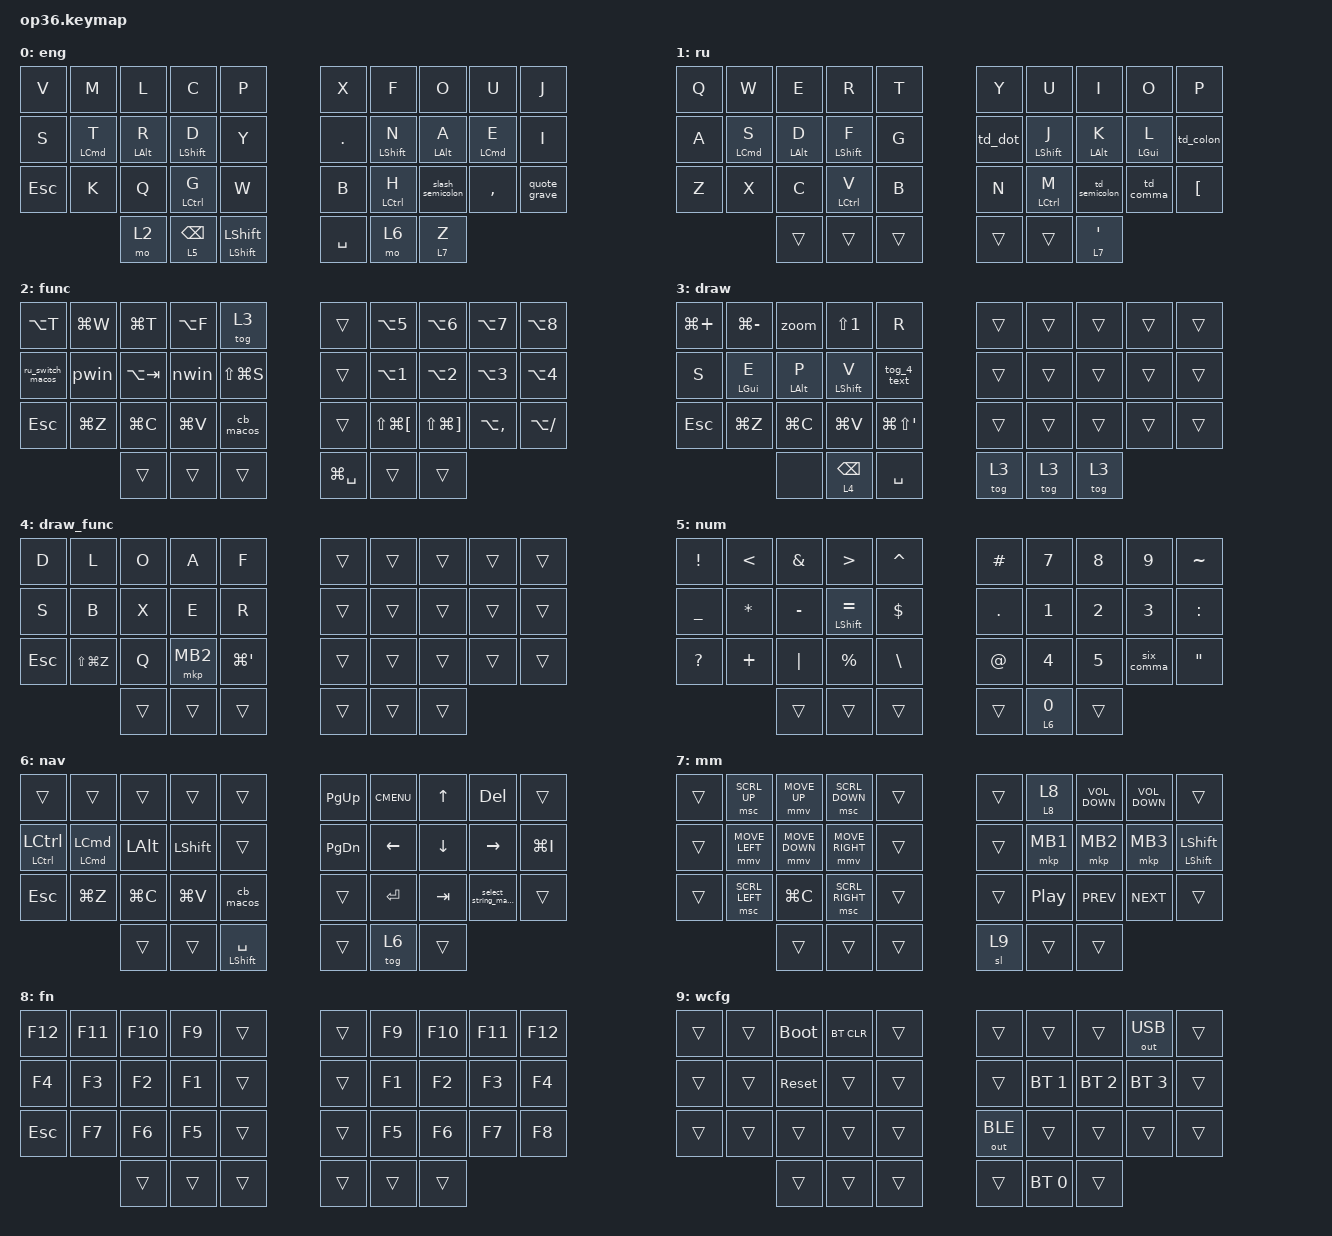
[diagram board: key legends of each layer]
#include "keys_ru.h"
#include <behaviors.dtsi>
#include <dt-bindings/zmk/bt.h>
#include <dt-bindings/zmk/keys.h>
#include <dt-bindings/zmk/outputs.h>
#include <dt-bindings/zmk/pointing.h>

&mt {
    quick-tap-ms = <200>;
    flavor = "tap-preferred";
    require-prior-idle-ms = <125>;
};

&sk {
    release-after-ms = <5000>;
    quick-release;
};

&sl { release-after-ms = <5000>; };

&mmv {
    time-to-max-speed-ms = <200>;
    acceleration-exponent = <1>;
    delay-ms = <0>;
};

&msc {
    time-to-max-speed-ms = <200>;
    delay-ms = <0>;
    acceleration-exponent = <1>;
};

&lt {
    flavor = "balanced";
    quick-tap-ms = <175>;
};

/ {
    behaviors {
        // Forward Window Cycle (NWin)

        nwin: nwin {
            compatible = "zmk,behavior-tri-state";
            #binding-cells = <0>;
            bindings = <&kt LGUI>, <&kp TAB>, <&kt LGUI>;

            ignored-key-positions = <1>;
        };

        // Backward Window Cycle (PWin)

        pwin: pwin {
            compatible = "zmk,behavior-tri-state";
            #binding-cells = <0>;
            bindings = <&kt LGUI>, <&kp LS(TAB)>, <&kt LGUI>;

            ignored-key-positions = <1>;
        };

        hml: home_row_mod_left {
            compatible = "zmk,behavior-hold-tap";
            #binding-cells = <2>;
            flavor = "tap-preferred";
            require-prior-idle-ms = <150>;
            tapping-term-ms = <200>;
            quick-tap-ms = <0>;
            bindings = <&kp>, <&kp>;

            hold-trigger-key-positions = <5 6 7 8 9 15 16 17 18 19 25 26 27 28 29 33 34 35>;
            hold-trigger-on-release;
        };

        hmr: home_row_mod_right {
            compatible = "zmk,behavior-hold-tap";
            #binding-cells = <2>;
            flavor = "tap-preferred";
            require-prior-idle-ms = <150>;
            tapping-term-ms = <200>;
            quick-tap-ms = <0>;
            bindings = <&kp>, <&kp>;

            hold-trigger-key-positions = <0 1 2 3 4 10 11 12 13 14 20 21 22 23 24 30 31 32>;
            hold-trigger-on-release;
        };

        td_dot: td_dot {
            compatible = "zmk,behavior-tap-dance";
            label = "TD_DOT";
            #binding-cells = <0>;
            bindings = <&kp H>, <&kp LS(N7)>;
        };

        td_colon: td_colon {
            compatible = "zmk,behavior-tap-dance";
            label = "TD_COLON";
            #binding-cells = <0>;
            bindings = <&kp SEMI>, <&kp LS(N5)>;
        };

        td_semicolon: td_semicolon {
            compatible = "zmk,behavior-tap-dance";
            label = "TD_SEMICOLON";
            #binding-cells = <0>;
            bindings = <&kp COMMA>, <&kp LS(N8)>;
        };

        td_comma: td_comma {
            compatible = "zmk,behavior-tap-dance";
            label = "TD_COMMA";
            #binding-cells = <0>;
            bindings = <&kp DOT>, <&kp LS(N6)>;
        };

        bs_layer: bs_layer {
            compatible = "zmk,behavior-hold-tap";
            label = "BS_LAYER";
            bindings = <&mo>, <&kp>;

            #binding-cells = <2>;
            flavor = "balanced";
            tapping-term-ms = <160>;
            quick-tap-ms = <0>;
        };

        sl_mo: sl_mo {
            compatible = "zmk,behavior-hold-tap";
            label = "SL_MO";
            bindings = <&mo>, <&sl>;

            #binding-cells = <2>;
            tapping-term-ms = <200>;
            quick-tap-ms = <0>;
        };

        sk_hold: sk_hold {
            compatible = "zmk,behavior-hold-tap";
            label = "SK_HOLD";
            bindings = <&kp>, <&sk>;

            #binding-cells = <2>;
            tapping-term-ms = <200>;
        };

        hml_shift: hml_shift {
            compatible = "zmk,behavior-hold-tap";
            #binding-cells = <2>;
            flavor = "tap-preferred";
            require-prior-idle-ms = <150>;
            tapping-term-ms = <200>;
            quick-tap-ms = <0>;
            bindings = <&kp>, <&kp>;

            label = "HML_SHIFT";
        };

        hmr_shift: hmr_shift {
            compatible = "zmk,behavior-hold-tap";
            #binding-cells = <2>;
            flavor = "tap-preferred";
            require-prior-idle-ms = <150>;
            tapping-term-ms = <200>;
            quick-tap-ms = <0>;
            bindings = <&kp>, <&kp>;

            label = "HMR_SHIFT";
        };

        lt_zero: lt_zero {
            compatible = "zmk,behavior-hold-tap";
            label = "LT_ZERO";
            bindings = <&mo>, <&kp>;

            #binding-cells = <2>;
            tapping-term-ms = <140>;
            flavor = "balanced";
        };

        space_shift: space_shift {
            compatible = "zmk,behavior-hold-tap";
            label = "SPACE_SHIFT";
            bindings = <&kp>, <&kp>;

            #binding-cells = <2>;
            tapping-term-ms = <200>;
        };

        slash_semicolon: slash_semicolon {
            compatible = "zmk,behavior-mod-morph";
            label = "SLASH_SEMICOLON";
            bindings = <&kp SLASH>, <&kp SEMICOLON>;

            #binding-cells = <0>;
            mods = <(MOD_LSFT|MOD_RSFT)>;
        };

        quote_grave: quote_grave {
            compatible = "zmk,behavior-mod-morph";
            label = "QUOTE_GRAVE";
            bindings = <&kp SINGLE_QUOTE>, <&kp GRAVE>;

            #binding-cells = <0>;
            mods = <(MOD_LSFT|MOD_RSFT)>;
        };

        hmr_alt: hmr_alt {
            compatible = "zmk,behavior-hold-tap";
            #binding-cells = <2>;
            flavor = "balanced";
            require-prior-idle-ms = <150>;
            tapping-term-ms = <280>;
            quick-tap-ms = <0>;
            bindings = <&kp>, <&kp>;

            hold-trigger-key-positions = <0 1 2 3 4 10 11 12 13 14 20 21 22 23 24 30 31 32>;
            hold-trigger-on-release;
            label = "HMR_ALT";
        };

        six_comma: six_comma {
            compatible = "zmk,behavior-mod-morph";
            label = "SIX_COMMA";
            bindings = <&kp N6>, <&kp COMMA>;

            #binding-cells = <0>;
            mods = <(MOD_LSFT)>;
        };
    };

    combos {
        compatible = "zmk,combos";

        yio {
            bindings = <&kp NUBS>;
            key-positions = <23 24>;
            layers = <1>;
        };

        enter_combo {
            bindings = <&kp ENTER>;
            key-positions = <34 26>;
            layers = <0 1 6 2>;
        };

        tab_combo {
            bindings = <&kp TAB>;
            key-positions = <34 27>;
            layers = <0 1 2 6>;
        };

        tab_enter_combo {
            bindings = <&tab_enter>;
            key-positions = <34 26 27>;
            layers = <0 1 2 6>;
            timeout-ms = <25>;
        };

        left_par_combo {
            bindings = <&kp LPAR>;
            key-positions = <16 17>;
            timeout-ms = <20>;
            require-prior-idle-ms = <0>;
            layers = <0 1 5>;
        };

        right_par_combo {
            bindings = <&kp RPAR>;
            key-positions = <17 18>;
            timeout-ms = <20>;
            require-prior-idle-ms = <0>;
            layers = <0 1 5>;
        };

        both_par_combo {
            bindings = <&autop>;
            key-positions = <17 18 16>;
            timeout-ms = <20>;
            require-prior-idle-ms = <0>;
            layers = <0 1 5>;
        };

        both_bracket_combo {
            bindings = <&autobracket>;
            key-positions = <6 7 8>;
            timeout-ms = <25>;
            require-prior-idle-ms = <0>;
            layers = <0 1 5>;
        };

        both_braces_combo {
            bindings = <&autobrace>;
            key-positions = <26 28 27>;
            timeout-ms = <30>;
            require-prior-idle-ms = <0>;
            layers = <0 1 5>;
        };

        block_combo {
            bindings = <&auto_block>;
            key-positions = <26 28>;
            timeout-ms = <30>;
            require-prior-idle-ms = <0>;
            layers = <0 1 5>;
        };

        left_bracket_combo {
            bindings = <&kp LEFT_BRACKET>;
            key-positions = <6 7>;
            timeout-ms = <20>;
            require-prior-idle-ms = <0>;
            layers = <0 1 5>;
        };

        right_bracket_combo {
            bindings = <&kp RIGHT_BRACKET>;
            key-positions = <7 8>;
            timeout-ms = <20>;
            require-prior-idle-ms = <0>;
            layers = <0 1 5>;
        };

        left_brace_combo {
            bindings = <&kp LEFT_BRACE>;
            key-positions = <26 27>;
            timeout-ms = <25>;
            require-prior-idle-ms = <0>;
            layers = <0 1 5>;
        };

        right_brace_combo {
            bindings = <&kp RIGHT_BRACE>;
            key-positions = <27 28>;
            timeout-ms = <25>;
            require-prior-idle-ms = <0>;
            layers = <0 1 5>;
        };

        select_string_combo {
            bindings = <&select_string_macos>;
            key-positions = <34 28>;
            layers = <0 1 2 6>;
        };

        arrow {
            bindings = <&kp A>;
            key-positions = <13 14>;
        };
    };

    macros {
        cb_macos: cb_macos {
            compatible = "zmk,behavior-macro";
            #binding-cells = <0>;
            bindings = <&kp LG(SPACE)>, <&macro_wait_time 30>, <&kp LG(N4)>;

            label = "CB_MACOS";
        };

        select_string_macos: select_string {
            compatible = "zmk,behavior-macro";
            #binding-cells = <0>;
            bindings = <&kp LG(RIGHT) &kp LS(LG(LEFT))>;
            label = "SELECT_STRING";
        };

        autop: autop {
            compatible = "zmk,behavior-macro";
            #binding-cells = <0>;
            bindings = <&kp LEFT_PARENTHESIS &kp RIGHT_PARENTHESIS &kp LEFT>;
            label = "AUTOP";
        };

        autobracket: autobracket {
            compatible = "zmk,behavior-macro";
            #binding-cells = <0>;
            bindings = <&kp LEFT_BRACKET &kp RIGHT_BRACKET &kp LEFT>;
            label = "AUTOBRACKET";
        };

        autobrace: autobrace {
            compatible = "zmk,behavior-macro";
            #binding-cells = <0>;
            bindings = <&kp LEFT_BRACE &kp RIGHT_BRACE &kp LEFT>;
            label = "AUTOBRACE";
        };

        ru_switch_macos: ru_switch {
            compatible = "zmk,behavior-macro";
            #binding-cells = <0>;
            bindings = <&kp LA(LC(SPACE)) &tog 1>;
            label = "RU_SWITCH";
        };

        auto_block: auto_block {
            compatible = "zmk,behavior-macro";
            #binding-cells = <0>;
            bindings =
                <&kp LEFT_BRACE &kp RIGHT_BRACE &kp LEFT>,
                <&macro_wait_time 10>,
                <&kp ENTER>;

            label = "AUTO_BLOCK";
        };

        tab_enter: tab_enter {
            compatible = "zmk,behavior-macro";
            #binding-cells = <0>;
            bindings = <&kp TAB>, <&macro_wait_time 5>, <&kp ENTER>;

            label = "TAB_ENTER";
        };

        tog_4_text: tog_4_text {
            compatible = "zmk,behavior-macro";
            #binding-cells = <0>;
            bindings = <&tog 3 &kp T>;
            label = "TOG_4_TEXT";
        };

        zoom: zoom {
            compatible = "zmk,behavior-macro";
            #binding-cells = <0>;
            bindings = <&kp LG(N0) &kp LG(MINUS) &kp LG(MINUS) &kp LG(MINUS) &kp LG(MINUS) &kp LG(MINUS) &kp LG(MINUS)>;
            label = "ZOOM";
        };
    };

    keymap {
        compatible = "zmk,keymap";

        main_macos {
            bindings = <
  &kp V    &kp M                &kp L            &kp C                    &kp P                                                               &kp X    &kp F                    &kp O                &kp U                &kp J
  &kp S    &hml LEFT_COMMAND T  &hml LEFT_ALT R  &hml_shift LEFT_SHIFT D  &kp Y                                                               &kp DOT  &hmr_shift LEFT_SHIFT N  &hmr_alt LEFT_ALT A  &hmr LEFT_COMMAND E  &kp I
  &kp ESC  &kp K                &kp Q            &hml LEFT_CONTROL G      &kp W                                                               &kp B    &hmr LEFT_CONTROL H      &slash_semicolon     &kp COMMA            &quote_grave
                                                 &mo 2                    &bs_layer 5 BACKSPACE  &sk_hold LEFT_SHIFT LEFT_SHIFT    &kp SPACE  &mo 6    &lt 7 Z
            >;

            display-name = "eng";
        };

        russian_macos {
            bindings = <
  &kp Q  &kp W                &kp E            &kp R                &kp T                     &kp Y    &kp U                    &kp I                &kp O            &kp P
  &kp A  &hml LEFT_COMMAND S  &hml LEFT_ALT D  &hml LEFT_SHIFT F    &kp G                     &td_dot  &hmr_shift LEFT_SHIFT J  &hmr_alt LEFT_ALT K  &hmr LEFT_GUI L  &td_colon
  &kp Z  &kp X                &kp C            &hml LEFT_CONTROL V  &kp B                     &kp N    &hmr LEFT_CONTROL M      &td_semicolon        &td_comma        &kp LBKT
                                               &trans               &trans  &trans    &trans  &trans   &lt 7 SINGLE_QUOTE
            >;

            display-name = "ru";
        };

        functional_macos {
            bindings = <
  &kp LA(T)         &kp LG(W)  &kp LG(T)    &kp LA(F)  &tog 3                                  &trans  &kp LA(NUMBER_5)          &kp LA(N6)                 &kp LA(N7)        &kp LA(N8)
  &ru_switch_macos  &pwin      &kp LA(TAB)  &nwin      &kp LS(LG(S))                           &trans  &kp LA(N1)                &kp LA(NUMBER_2)           &kp LA(NUMBER_3)  &kp LA(NUMBER_4)
  &kp ESC           &kp LG(Z)  &kp LG(C)    &kp LG(V)  &cb_macos                               &trans  &kp LS(LG(LEFT_BRACKET))  &kp LS(LG(RIGHT_BRACKET))  &kp LA(COMMA)     &kp LA(FSLH)
                                            &trans     &trans         &trans    &kp LG(SPACE)  &trans  &trans
            >;

            display-name = "func";
        };

        draw {
            bindings = <
  &kp LG(PLUS)  &kp LG(MINUS)    &zoom            &kp LS(N1)               &kp R                                       &trans  &trans  &trans  &trans  &trans
  &kp S         &hml LEFT_GUI E  &hml LEFT_ALT P  &hml_shift LEFT_SHIFT V  &tog_4_text                                 &trans  &trans  &trans  &trans  &trans
  &kp ESC       &kp LG(Z)        &kp LG(C)        &kp LG(V)                &kp LG(LS(SQT))                             &trans  &trans  &trans  &trans  &trans
                                                  &none                    &bs_layer 4 BACKSPACE  &kp SPACE    &tog 3  &tog 3  &tog 3
            >;

            label = "draw";
        };

        draw_func {
            bindings = <
  &kp D    &kp L          &kp O  &kp A     &kp F                          &trans  &trans  &trans  &trans  &trans
  &kp S    &kp B          &kp X  &kp E     &kp R                          &trans  &trans  &trans  &trans  &trans
  &kp ESC  &kp LS(LG(Z))  &kp Q  &mkp MB2  &kp LG(SQT)                    &trans  &trans  &trans  &trans  &trans
                                 &trans    &trans       &trans    &trans  &trans  &trans
            >;

            label = "draw_func";
        };

        numpad {
            bindings = <
  &kp EXCL      &kp LT        &kp AMPERSAND  &kp GT                       &kp CARET                        &kp HASH             &kp N7  &kp N8  &kp N9      &kp TILDE
  &kp UNDER     &kp ASTERISK  &kp MINUS      &hml_shift LEFT_SHIFT EQUAL  &kp DOLLAR                       &kp DOT              &kp N1  &kp N2  &kp N3      &kp COLON
  &kp QUESTION  &kp PLUS      &kp PIPE       &kp PERCENT                  &kp BACKSLASH                    &kp AT_SIGN          &kp N4  &kp N5  &six_comma  &kp DQT
                                             &trans                       &trans         &trans    &trans  &lt_zero 6 NUMBER_0  &trans
            >;

            label = "num";
        };

        navigation_macos {
            bindings = <
  &trans                              &trans                              &trans        &trans          &trans                                              &kp PAGE_UP    &kp K_CMENU  &kp UP    &kp DELETE            &trans
  &sk_hold LEFT_CONTROL LEFT_CONTROL  &sk_hold LEFT_COMMAND LEFT_COMMAND  &kp LEFT_ALT  &kp LEFT_SHIFT  &trans                                              &kp PAGE_DOWN  &kp LEFT     &kp DOWN  &kp RIGHT             &kp LG(I)
  &kp ESC                             &kp LG(Z)                           &kp LG(C)     &kp LG(V)       &cb_macos                                           &trans         &kp RETURN   &kp TAB   &select_string_macos  &trans
                                                                                        &trans          &trans     &space_shift LEFT_SHIFT SPACE    &trans  &tog 6         &trans
            >;

            label = "nav";
        };

        mouse_media {
            bindings = <
  &trans  &msc SCRL_UP    &mmv MOVE_UP    &msc SCRL_DOWN   &trans                   &trans  &sl_mo 8 8        &kp C_VOLUME_DOWN  &kp C_VOLUME_DOWN  &trans
  &trans  &mmv MOVE_LEFT  &mmv MOVE_DOWN  &mmv MOVE_RIGHT  &trans                   &trans  &mkp MB1          &mkp MB2           &mkp MB3           &sk_hold LEFT_SHIFT LEFT_SHIFT
  &trans  &msc SCRL_LEFT  &kp LG(C)       &msc SCRL_RIGHT  &trans                   &trans  &kp C_PLAY_PAUSE  &kp C_PREV         &kp C_NEXT         &trans
                                          &trans           &trans  &trans    &sl 9  &trans  &trans
            >;

            label = "mm";
        };

        funky {
            bindings = <
  &kp F12  &kp F11  &kp F10  &kp F9  &trans                    &trans  &kp F9  &kp F10  &kp F11  &kp F12
  &kp F4   &kp F3   &kp F2   &kp F1  &trans                    &trans  &kp F1  &kp F2   &kp F3   &kp F4
  &kp ESC  &kp F7   &kp F6   &kp F5  &trans                    &trans  &kp F5  &kp F6   &kp F7   &kp F8
                             &trans  &trans  &trans    &trans  &trans  &trans
            >;

            label = "fn";
        };

        wireless_config {
            bindings = <
  &trans  &trans  &bootloader  &bt BT_CLR  &trans                    &trans        &trans        &trans        &out OUT_USB  &trans
  &trans  &trans  &sys_reset   &trans      &trans                    &trans        &bt BT_SEL 1  &bt BT_SEL 2  &bt BT_SEL 3  &trans
  &trans  &trans  &trans       &trans      &trans                    &out OUT_BLE  &trans        &trans        &trans        &trans
                               &trans      &trans  &trans    &trans  &bt BT_SEL 0  &trans
            >;

            label = "wcfg";
        };
    };
};
